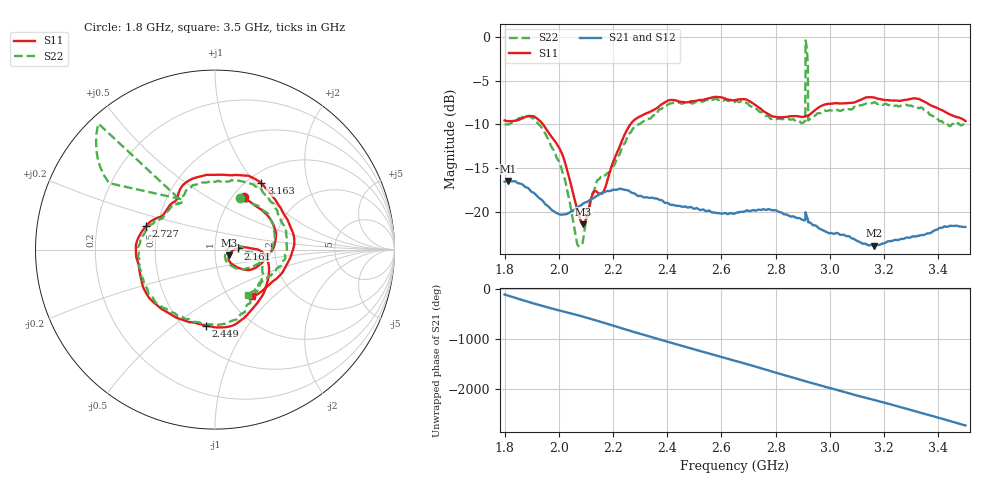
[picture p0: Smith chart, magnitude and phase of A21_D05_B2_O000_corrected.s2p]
! Created with skrf 1.9.0 (http://scikit-rf.org).
# Hz S RI R 50.0
!freq ReS11 ImS11 ReS21 ImS21 ReS12 ImS12 ReS22 ImS22
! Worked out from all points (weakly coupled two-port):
!   1601 points, 1.8 GHz to 3.5 GHz, reference 50 ohm
!   highest |S21| = -16.47 dB at 1.812 GHz (marker M1); lowest = -23.9 dB at 3.163 GHz (marker M2)
!   lowest |S11| = -21.4 dB at 2.09 GHz (marker M3), VSWR 1.19, Z = 58.4 - j3.74 ohm
!   |S11| at or under -10 dB: 1.942 GHz to 2.264 GHz (322 MHz wide, 15.3 % of centre)
!   |S22| runs from -23.9 to -0.4 dB; largest |S21 - S12| = 0.0027
!   S11 on the Smith chart (normalised r, x): 1.8 GHz: 1.13, +0.74; 2.161 GHz: 1.29, +0.02; 2.449 GHz: 0.64, -0.66; 2.727 GHz: 0.43, +0.13; 3.163 GHz: 1.16, +1.08; 3.5 GHz: 1.27, -0.74
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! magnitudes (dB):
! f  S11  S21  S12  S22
! 1.8 GHz  -9.5  -16.5  -16.6  -10.0
! 1.812 GHz  -9.6  -16.5  -16.5  -10.0
! 1.941 GHz  -10.0  -18.8  -18.8  -10.6
! 2.013 GHz  -13.4  -20.3  -20.3  -15.4
! 2.067 GHz  -19.6  -19.5  -19.5  -23.5
! 2.084 GHz  -21.2  -19.2  -19.2  -23.8
! 2.09 GHz  -21.4  -19.1  -19.1  -23.2
! 2.127 GHz  -17.8  -18.4  -18.4  -17.8
! 2.161 GHz  -17.8  -17.8  -17.8  -15.8
! 2.26 GHz  -10.2  -17.6  -17.6  -11.0
! 2.367 GHz  -8.0  -18.6  -18.5  -8.4
! 2.449 GHz  -7.4  -19.4  -19.4  -7.6
! 2.65 GHz  -7.2  -20.2  -20.2  -7.4
! 2.727 GHz  -7.8  -19.9  -19.9  -8.2
! 2.901 GHz  -9.1  -20.9  -21.0  -9.8
! 2.91 GHz  -9.1  -20.1  -20.0  -0.4
! 2.919 GHz  -9.0  -20.8  -20.8  -3.1
! 2.928 GHz  -8.8  -21.3  -21.3  -9.3
! 2.934 GHz  -8.7  -21.4  -21.4  -9.2
! 3.163 GHz  -6.9  -23.9  -23.8  -7.5
! 3.217 GHz  -7.2  -23.4  -23.4  -7.8
! 3.5 GHz  -9.6  -21.7  -21.7  -10.2
